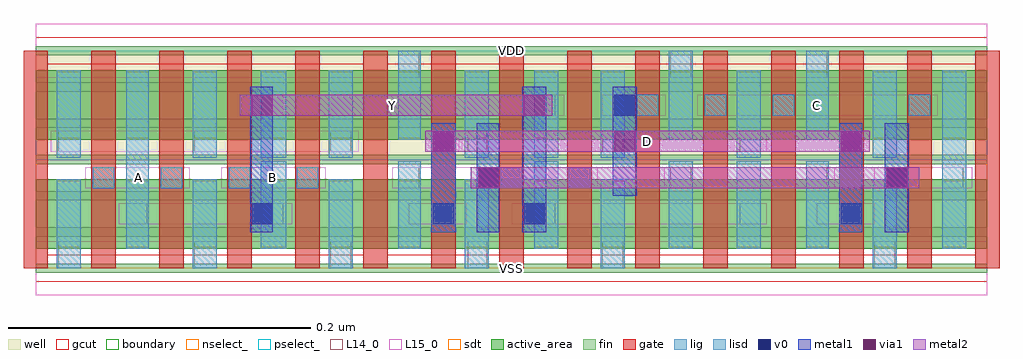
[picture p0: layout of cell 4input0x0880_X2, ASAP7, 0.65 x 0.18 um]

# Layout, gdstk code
import gdstk
lib = gdstk.Library(unit=1e-6, precision=1e-09)
def R(c, l, rs):  # rectangles x0, y0, x1, y1
    for r in rs: c.add(gdstk.rectangle(r[:2], r[2:], *l))
def A(c, l, x, y, w, h, nx, ny, dx, dy):  # array of equal rectangles
    R(c, l, [(x+i*dx, y+j*dy, x+i*dx+w, y+j*dy+h) for i in range(nx) for j in range(ny)])
def P(c, l, *ps):  # polygons
    for p in ps: c.add(gdstk.Polygon(p, *l))
well = (1, 0)
fin = (2, 0)
gate = (7, 0)
gcut = (10, 0)
active_area = (11, 0)
nselect_ = (12, 0)
pselect_ = (13, 0)
L14_0 = (14, 0)
L15_0 = (15, 0)
lig = (16, 0)
lisd = (17, 0)
v0 = (18, 0)
metal1 = (19, 0)
metal2 = (20, 0)
via1 = (21, 0)
sdt = (88, 0)
boundary = (100, 0)

c_4input0x0880_x2 = lib.new_cell('4input0x0880_X2')
R(c_4input0x0880_x2, well, [(0,0.072,0.63,0.144)])
A(c_4input0x0880_x2, fin, 0, -0.003, 0.63, 0.006, 1, 7, 0, 0.024)
A(c_4input0x0880_x2, gate, -0.008, 0, 0.016, 0.144, 15, 1, 0.045, 0)
P(c_4input0x0880_x2, gcut, [(0,-0.009),(0,0),(-0.008,0),(-0.008,0.135),(0.008,0.135),(0.008,0.009),(0.217,0.009),(0.217,0.135),(0.233,0.135),(0.233,0.009),(0.622,0.009),(0.622,0.135),(-0.008,0.135),(-0.008,0.144),(0,0.144),(0,0.153),(0.63,0.153),(0.63,0.144),(0.638,0.144),(0.638,0),(0.63,0),(0.63,-0.009)])
R(c_4input0x0880_x2, active_area, [(0,0.013,0.63,0.059), (0,0.085,0.63,0.131)])
R(c_4input0x0880_x2, nselect_, [(0,0,0.63,0.072)])
R(c_4input0x0880_x2, pselect_, [(0,0.072,0.63,0.144)])
A(c_4input0x0880_x2, L14_0, 0.195, 0, 0.014, 0.018, 3, 1, 0.18, 0)
A(c_4input0x0880_x2, L14_0, 0.038, 0.053, 0.014, 0.014, 4, 1, 0.045, 0)
A(c_4input0x0880_x2, L14_0, 0.42, 0.053, 0.014, 0.014, 3, 1, 0.09, 0)
A(c_4input0x0880_x2, L14_0, 0.398, 0.101, 0.014, 0.014, 3, 1, 0.045, 0)
R(c_4input0x0880_x2, L14_0, [(0.015,0,0.03,0.018), (0.105,0,0.12,0.018), (0.286,0,0.299,0.018), (0.06,0.029,0.074,0.043), (0.15,0.029,0.164,0.043), (0.263,0.029,0.277,0.043), (0.33,0.029,0.344,0.043), (0.466,0.029,0.48,0.043), (0.533,0.029,0.547,0.043), (0.24,0.053,0.254,0.067), (0.308,0.053,0.322,0.067), (0.353,0.053,0.367,0.067), (0.015,0.077,0.03,0.091), (0.105,0.077,0.12,0.091), (0.195,0.077,0.209,0.091), (0.286,0.077,0.299,0.091), (0.375,0.077,0.389,0.091), (0.466,0.077,0.48,0.091), (0.15,0.101,0.164,0.115), (0.33,0.101,0.344,0.115), (0.578,0.101,0.592,0.115), (0.24,0.126,0.254,0.144), (0.42,0.126,0.434,0.144), (0.51,0.126,0.524,0.144)])
R(c_4input0x0880_x2, L15_0, [(0,-0.018,0.63,0.018), (0.055,0.029,0.17,0.043), (0.247,0.029,0.285,0.043), (0.315,0.029,0.484,0.043), (0.517,0.029,0.555,0.043), (0.033,0.053,0.102,0.067), (0.123,0.053,0.192,0.067), (0.236,0.053,0.372,0.067), (0.416,0.053,0.529,0.067), (0.555,0.053,0.62,0.067), (0.01,0.077,0.214,0.091), (0.28,0.077,0.484,0.091), (0.145,0.101,0.35,0.115), (0.375,0.101,0.417,0.115), (0.438,0.101,0.597,0.115), (0,0.126,0.63,0.162)])
A(c_4input0x0880_x2, lig, 0.038, 0.053, 0.014, 0.014, 4, 1, 0.045, 0)
A(c_4input0x0880_x2, lig, 0.398, 0.101, 0.014, 0.014, 3, 1, 0.045, 0)
R(c_4input0x0880_x2, lig, [(0.263,0.029,0.277,0.043), (0.533,0.029,0.547,0.043), (0.308,0.053,0.322,0.067), (0.353,0.053,0.367,0.067), (0.578,0.101,0.592,0.115)])
A(c_4input0x0880_x2, lisd, 0.014, 0, 0.016, 0.059, 5, 1, 0.09, 0)
A(c_4input0x0880_x2, lisd, 0.014, 0.073, 0.016, 0.058, 4, 1, 0.09, 0)
A(c_4input0x0880_x2, lisd, 0.374, 0.073, 0.016, 0.058, 3, 1, 0.09, 0)
R(c_4input0x0880_x2, lisd, [(0.554,0,0.57,0.059), (0.06,0.013,0.075,0.131), (0.149,0.013,0.166,0.071), (0.24,0.013,0.255,0.071), (0.33,0.013,0.346,0.071), (0.419,0.013,0.435,0.071), (0.464,0.013,0.48,0.071), (0.51,0.013,0.525,0.071), (0.6,0.013,0.616,0.131), (0.149,0.073,0.166,0.131), (0.33,0.073,0.346,0.131), (0.24,0.085,0.255,0.144), (0.419,0.085,0.435,0.144), (0.51,0.085,0.525,0.144)])
R(c_4input0x0880_x2, v0, [(0.143,0.029,0.157,0.043), (0.263,0.029,0.277,0.043), (0.323,0.029,0.337,0.043), (0.533,0.029,0.547,0.043), (0.293,0.053,0.307,0.067), (0.563,0.053,0.577,0.067), (0.383,0.101,0.397,0.115)])
R(c_4input0x0880_x2, metal1, [(0.142,0.024,0.157,0.12), (0.262,0.024,0.278,0.096), (0.292,0.024,0.307,0.096), (0.322,0.024,0.338,0.12), (0.532,0.024,0.547,0.096), (0.562,0.024,0.578,0.096), (0.382,0.048,0.398,0.12)])
R(c_4input0x0880_x2, metal2, [(0.288,0.053,0.585,0.067), (0.258,0.077,0.552,0.091), (0.135,0.101,0.342,0.115)])
R(c_4input0x0880_x2, via1, [(0.293,0.053,0.307,0.067), (0.563,0.053,0.577,0.067), (0.263,0.077,0.277,0.091), (0.383,0.077,0.397,0.091), (0.533,0.077,0.547,0.091), (0.143,0.101,0.157,0.115), (0.323,0.101,0.337,0.115)])
A(c_4input0x0880_x2, sdt, 0.014, 0.014, 0.016, 0.044, 4, 2, 0.09, 0.072)
A(c_4input0x0880_x2, sdt, 0.374, 0.014, 0.016, 0.044, 3, 2, 0.045, 0.072)
R(c_4input0x0880_x2, sdt, [(0.06,0.014,0.075,0.058), (0.149,0.014,0.166,0.058), (0.24,0.014,0.255,0.058), (0.33,0.014,0.346,0.058), (0.51,0.014,0.525,0.058), (0.554,0.014,0.57,0.058), (0.6,0.014,0.616,0.058), (0.06,0.086,0.075,0.13), (0.149,0.086,0.166,0.13), (0.24,0.086,0.255,0.13), (0.33,0.086,0.346,0.13), (0.51,0.086,0.525,0.13), (0.554,0.086,0.57,0.13), (0.6,0.086,0.616,0.13)])
R(c_4input0x0880_x2, boundary, [(0,0,0.63,0.144)])
c_4input0x0880_x2.add(gdstk.Label('VSS', (0.315,0), layer=15, texttype=251))
c_4input0x0880_x2.add(gdstk.Label('VDD', (0.315,0.144), layer=15, texttype=251))
c_4input0x0880_x2.add(gdstk.Label('VSS', (0.315,0), layer=15, texttype=251))
c_4input0x0880_x2.add(gdstk.Label('VDD', (0.315,0.144), layer=15, texttype=251))
c_4input0x0880_x2.add(gdstk.Label('C', (0.517,0.108), layer=15, texttype=251))
c_4input0x0880_x2.add(gdstk.Label('VSS', (0.315,0), layer=15, texttype=251))
c_4input0x0880_x2.add(gdstk.Label('VDD', (0.315,0.144), layer=15, texttype=251))
c_4input0x0880_x2.add(gdstk.Label('A', (0.068,0.06), layer=15, texttype=251))
c_4input0x0880_x2.add(gdstk.Label('VSS', (0.315,0), layer=15, texttype=251))
c_4input0x0880_x2.add(gdstk.Label('VDD', (0.315,0.144), layer=15, texttype=251))
c_4input0x0880_x2.add(gdstk.Label('B', (0.157,0.06), layer=15, texttype=251))
c_4input0x0880_x2.add(gdstk.Label('VSS', (0.315,0), layer=15, texttype=251))
c_4input0x0880_x2.add(gdstk.Label('VDD', (0.315,0.144), layer=15, texttype=251))
c_4input0x0880_x2.add(gdstk.Label('Y', (0.236,0.108), layer=20, texttype=251))
c_4input0x0880_x2.add(gdstk.Label('D', (0.405,0.084), layer=20, texttype=251))
c_4input0x0880_x2.add(gdstk.Label('VSS', (0.315,0), layer=3, texttype=251))
c_4input0x0880_x2.add(gdstk.Label('VSS', (0.315,0), layer=3, texttype=251))
c_4input0x0880_x2.add(gdstk.Label('VSS', (0.315,0), layer=3, texttype=251))
c_4input0x0880_x2.add(gdstk.Label('VSS', (0.315,0), layer=3, texttype=251))
c_4input0x0880_x2.add(gdstk.Label('VSS', (0.315,0), layer=3, texttype=251))
c_4input0x0880_x2.add(gdstk.Label('VDD', (0.315,0.144), layer=1, texttype=251))
c_4input0x0880_x2.add(gdstk.Label('VDD', (0.315,0.144), layer=1, texttype=251))
c_4input0x0880_x2.add(gdstk.Label('VDD', (0.315,0.144), layer=1, texttype=251))
c_4input0x0880_x2.add(gdstk.Label('VDD', (0.315,0.144), layer=1, texttype=251))
c_4input0x0880_x2.add(gdstk.Label('VDD', (0.315,0.144), layer=1, texttype=251))

lib.write_gds('4input0x0880_X2.gds')
